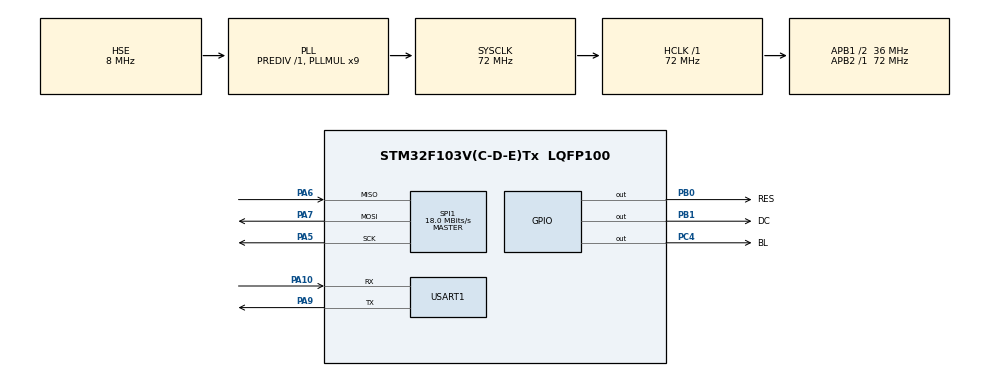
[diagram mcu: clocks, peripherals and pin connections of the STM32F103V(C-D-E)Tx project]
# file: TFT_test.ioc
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Dma.Request0=SPI1_TX
Dma.SPI1_TX.0.Direction=DMA_MEMORY_TO_PERIPH
Dma.SPI1_TX.0.Instance=DMA1_Channel3
Dma.SPI1_TX.0.MemDataAlignment=DMA_MDATAALIGN_BYTE
Dma.SPI1_TX.0.MemInc=DMA_MINC_ENABLE
Dma.SPI1_TX.0.Mode=DMA_NORMAL
Dma.SPI1_TX.0.PeriphDataAlignment=DMA_PDATAALIGN_BYTE
Dma.SPI1_TX.0.PeriphInc=DMA_PINC_DISABLE
Dma.SPI1_TX.0.Priority=DMA_PRIORITY_HIGH
Mcu.Family=STM32F1
Mcu.Name=STM32F103V(C-D-E)Tx
Mcu.Package=LQFP100
NVIC.DMA1_Channel3_IRQn=true\:0\:0\:false\:false\:true\:false\:true\:true
NVIC.PriorityGroup=NVIC_PRIORITYGROUP_0
NVIC.TIM2_IRQn=true\:0\:5\:false\:false\:true\:true\:true\:true
NVIC.USART1_IRQn=true\:0\:0\:false\:false\:true\:true\:true\:true
OSC_IN.Mode=HSE-External-Oscillator
OSC_IN.Signal=RCC_OSC_IN
OSC_OUT.Mode=HSE-External-Oscillator
OSC_OUT.Signal=RCC_OSC_OUT
PA10.Mode=Asynchronous
PA10.Signal=USART1_RX
PA13.Mode=JTAG_5_pins
PA13.Signal=SYS_JTMS-SWDIO
PA14.Mode=JTAG_5_pins
PA14.Signal=SYS_JTCK-SWCLK
PA15.Mode=JTAG_5_pins
PA15.Signal=SYS_JTDI
PA5.Mode=Full_Duplex_Master
PA5.Signal=SPI1_SCK
PA6.Mode=Full_Duplex_Master
PA6.Signal=SPI1_MISO
PA7.Mode=Full_Duplex_Master
PA7.Signal=SPI1_MOSI
PA9.Mode=Asynchronous
PA9.Signal=USART1_TX
PB0.GPIO_Label=RES
PB0.GPIO_Speed=GPIO_SPEED_FREQ_HIGH
PB0.PinState=GPIO_PIN_SET
PB0.Signal=GPIO_Output
PB1.GPIO_Label=DC
PB1.GPIO_Speed=GPIO_SPEED_FREQ_HIGH
PB1.PinState=GPIO_PIN_SET
PB1.Signal=GPIO_Output
PB3.Mode=JTAG_5_pins
PB3.Signal=SYS_JTDO-TRACESWO
PB4.Mode=JTAG_5_pins
PB4.Signal=SYS_NJTRST
PC4.GPIO_Label=BL
PC4.PinState=GPIO_PIN_SET
PC4.Signal=GPIO_Output
ProjectManager.HeapSize=0x200
ProjectManager.StackSize=0x400
ProjectManager.TargetToolchain=Makefile
RCC.AHBFreq_Value=72000000
RCC.APB1CLKDivider=RCC_HCLK_DIV2
RCC.APB1Freq_Value=36000000
RCC.APB1TimFreq_Value=72000000
RCC.APB2Freq_Value=72000000
RCC.APB2TimFreq_Value=72000000
RCC.HCLKFreq_Value=72000000
RCC.PLLMUL=RCC_PLL_MUL9
RCC.PLLSourceVirtual=RCC_PLLSOURCE_HSE
RCC.SYSCLKFreq_VALUE=72000000
RCC.SYSCLKSource=RCC_SYSCLKSOURCE_PLLCLK
RCC.USBFreq_Value=72000000
SPI1.BaudRatePrescaler=SPI_BAUDRATEPRESCALER_4
SPI1.CLKPolarity=SPI_POLARITY_HIGH
SPI1.CalculateBaudRate=18.0 MBits/s
SPI1.Direction=SPI_DIRECTION_2LINES
SPI1.Mode=SPI_MODE_MASTER
SPI1.VirtualType=VM_MASTER
TIM2.AutoReloadPreload=TIM_AUTORELOAD_PRELOAD_ENABLE
TIM2.Period=999
TIM2.Prescaler=71
USART1.VirtualMode=VM_ASYNC
VP_TIM2_VS_ClockSourceINT.Mode=Internal
board=custom

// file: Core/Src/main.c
/* USER CODE BEGIN Header */
/**
 ******************************************************************************
 * @file           : main.c
 * @brief          : Main program body
 ******************************************************************************
 * @attention
 *
 * Copyright (c) 2023 STMicroelectronics.
 * All rights reserved.
 *
 * This software is licensed under terms that can be found in the LICENSE file
 * in the root directory of this software component.
 * If no LICENSE file comes with this software, it is provided AS-IS.
 *
 ******************************************************************************
 */
/* USER CODE END Header */
#include "main.h"

#include "dma.h"
#include "gpio.h"
#include "spi.h"
#include "tim.h"
#include "usart.h"

/* USER CODE BEGIN Includes */
#include "img.h"
#include "st7789.h"
/* USER CODE END Includes */

void SystemClock_Config(void);

int main(void) {

  /* MCU Configuration--------------------------------------------------------*/

  /* Reset of all peripherals, Initializes the Flash interface and the Systick.
   */
  HAL_Init();

  /* Configure the system clock */
  SystemClock_Config();

  /* Initialize all configured peripherals */
  MX_GPIO_Init();
  MX_DMA_Init();
  MX_USART1_UART_Init();
  MX_SPI1_Init();
  MX_TIM2_Init();
  /* USER CODE BEGIN 2 */

  ST7789_Init();
  /* USER CODE END 2 */

  /* Infinite loop */
  /* USER CODE BEGIN WHILE */

  ST7789_Fill_Color(WHITE);
  while (1) {
    ST7789_Test();
  }

// 用于测试刷新频率
#ifdef DEBUG
  extern uint8_t flag;
  uint16_t fre = 0;
  printf("start\n");
  HAL_TIM_Base_Start_IT(&htim2);
  while (1) {
    //     ST7789_Fill_Color(WHITE);
    //     fre++;
    ST7789_Fill_Color(WHITE);
    fre++;
    if (!flag) {
      printf("end at: %d\n", fre);
      fre = 0;
      flag = !flag;
    }
    // HAL_Delay(1000);
    /* USER CODE END WHILE */

    /* USER CODE BEGIN 3 */
  }
#endif
  /* USER CODE END 3 */
}

void SystemClock_Config(void) {
  RCC_OscInitTypeDef RCC_OscInitStruct = {0};
  RCC_ClkInitTypeDef RCC_ClkInitStruct = {0};

  /** Initializes the RCC Oscillators according to the specified parameters
   * in the RCC_OscInitTypeDef structure.
   */
  RCC_OscInitStruct.OscillatorType = RCC_OSCILLATORTYPE_HSE;
  RCC_OscInitStruct.HSEState = RCC_HSE_ON;
  RCC_OscInitStruct.HSEPredivValue = RCC_HSE_PREDIV_DIV1;
  RCC_OscInitStruct.HSIState = RCC_HSI_ON;
  RCC_OscInitStruct.PLL.PLLState = RCC_PLL_ON;
  RCC_OscInitStruct.PLL.PLLSource = RCC_PLLSOURCE_HSE;
  RCC_OscInitStruct.PLL.PLLMUL = RCC_PLL_MUL9;
  if (HAL_RCC_OscConfig(&RCC_OscInitStruct) != HAL_OK) {
    Error_Handler();
  }

  /** Initializes the CPU, AHB and APB buses clocks
   */
  RCC_ClkInitStruct.ClockType = RCC_CLOCKTYPE_HCLK | RCC_CLOCKTYPE_SYSCLK |
                                RCC_CLOCKTYPE_PCLK1 | RCC_CLOCKTYPE_PCLK2;
  RCC_ClkInitStruct.SYSCLKSource = RCC_SYSCLKSOURCE_PLLCLK;
  RCC_ClkInitStruct.AHBCLKDivider = RCC_SYSCLK_DIV1;
  RCC_ClkInitStruct.APB1CLKDivider = RCC_HCLK_DIV2;
  RCC_ClkInitStruct.APB2CLKDivider = RCC_HCLK_DIV1;

  if (HAL_RCC_ClockConfig(&RCC_ClkInitStruct, FLASH_LATENCY_2) != HAL_OK) {
    Error_Handler();
  }
}

void Error_Handler(void) {
  __disable_irq();
  while (1) {
  }
}

#ifdef USE_FULL_ASSERT
/**
 * @brief  Reports the name of the source file and the source line number
 *         where the assert_param error has occurred.
 * @param  file: pointer to the source file name
 * @param  line: assert_param error line source number
 * @retval None
 */
void assert_failed(uint8_t *file, uint32_t line) {
  /* USER CODE BEGIN 6 */
  /* User can add his own implementation to report the file name and line
     number, ex: printf("Wrong parameters value: file %s on line %d\r\n", file,
     line) */
  /* USER CODE END 6 */
}
#endif /* USE_FULL_ASSERT */
